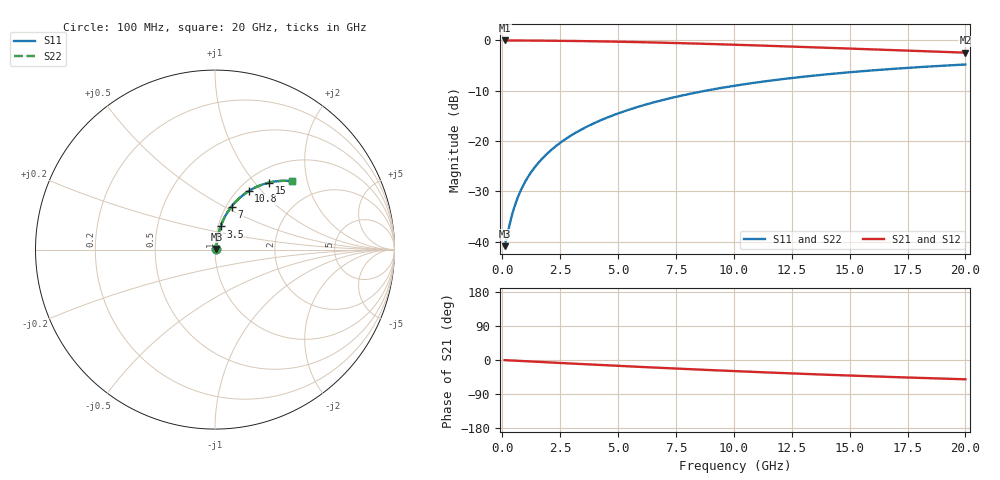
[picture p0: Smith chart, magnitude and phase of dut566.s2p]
! Touchstone file exported from HFSS 2024.1.0
!  File:  C:/UserFiles/LocalFiles/RDL_TSV_Batchsim/temp_RDL_bottom_566_1779690018.aedt
!  Generated:  02:22:44 PM May 25, 2026
!  Design:  RDL_bottom
!  Project:  temp_RDL_bottom_566_1779690018
!  Setup:  Setup1
!  Solution:  Sweep
! Variables:
!  dtsv = 10.80580581um
!  hbump = 3um
!  htsv = 58.17um
!  ldown = 650.53um
!  lrdl = 100um
!  p = 40
!  p1 = 51.45um
!  rhole = 1um
!  t = 450um
!  tdown = 2.71um
!  trdl = 3.915915916um
!  wdown = 10.36um
!  wrdl = 20um
# GHz S MA R 50.000000
! Terminal data exported
! Port[1] = RDL1_T1
! Port[2] = RDL1_T2
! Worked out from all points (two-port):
!   200 points, 100 MHz to 20 GHz, reference 50 ohm
!   highest |S21| = -0.07 dB at 100 MHz (marker M1); lowest = -2.5 dB at 20 GHz (marker M2)
!   |S21| within 3 dB of the highest: start of sweep to end of sweep
!   lowest |S11| = -40.8 dB at 100 MHz (marker M3), VSWR 1.02, Z = 50.8 + j0.4 ohm
!   |S11| at or under -10 dB: start of sweep to 8.819 GHz
!   |S22| runs from -40.8 to -4.8 dB; largest |S21 - S12| = 3.1e-15
!   S11 on the Smith chart (normalised r, x): 100 MHz: 1.02, +0.01; 3.5 GHz: 1.03, +0.27; 7 GHz: 1.06, +0.54; 10.8 GHz: 1.12, +0.85; 15 GHz: 1.23, +1.19; 20 GHz: 1.42, +1.61
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0.1  0.009079 25.6  0.9918 -0.3  0.9918 -0.3  0.009079 25.6
! Gamma 0 0 0 0
! Port Impedance 50 0 50 0
0.3  0.01447 54.3  0.9916 -1.0  0.9916 -1.0  0.01447 54.3
0.4  0.01787 61.0  0.9914 -1.3  0.9914 -1.3  0.01787 61.0
0.6  0.02508 68.4  0.991 -1.9  0.991 -1.9  0.02508 68.4
0.7  0.02876 70.6  0.9908 -2.2  0.9908 -2.2  0.02876 70.6
0.9  0.03619 73.4  0.9903 -2.9  0.9903 -2.9  0.03619 73.4
1.2  0.04737 75.7  0.9893 -3.8  0.9893 -3.8  0.04737 75.7
1.7  0.06606 77.3  0.9875 -5.4  0.9875 -5.4  0.06606 77.3
2.2  0.08474 77.6  0.9853 -6.9  0.9853 -6.9  0.08474 77.6
2.8  0.1071 77.3  0.982 -8.8  0.982 -8.8  0.1071 77.3
3.5  0.1331 76.4  0.9773 -10.9  0.9773 -10.9  0.1331 76.4
4.2  0.1587 75.1  0.9717 -13.0  0.9717 -13.0  0.1587 75.1
5  0.1876 73.5  0.9643 -15.4  0.9643 -15.4  0.1876 73.5
6.8  0.2504 69.5  0.9443 -20.6  0.9443 -20.6  0.2505 69.5
7  0.2572 69.0  0.9418 -21.2  0.9418 -21.2  0.2572 69.0
8.5  0.3062 65.5  0.922 -25.3  0.922 -25.3  0.3062 65.5
10.1  0.355 61.7  0.8991 -29.5  0.8991 -29.5  0.355 61.7
10.8  0.3751 60.1  0.8886 -31.3  0.8886 -31.3  0.3751 60.1
13.4  0.4433 54.4  0.8487 -37.5  0.8487 -37.5  0.4434 54.4
15  0.4802 51.0  0.8241 -41.0  0.8241 -41.0  0.4803 51.0
16.7  0.5154 47.7  0.7983 -44.6  0.7983 -44.6  0.5154 47.7
20  0.5729 41.7  0.7508 -50.9  0.7508 -50.9  0.5729 41.7
